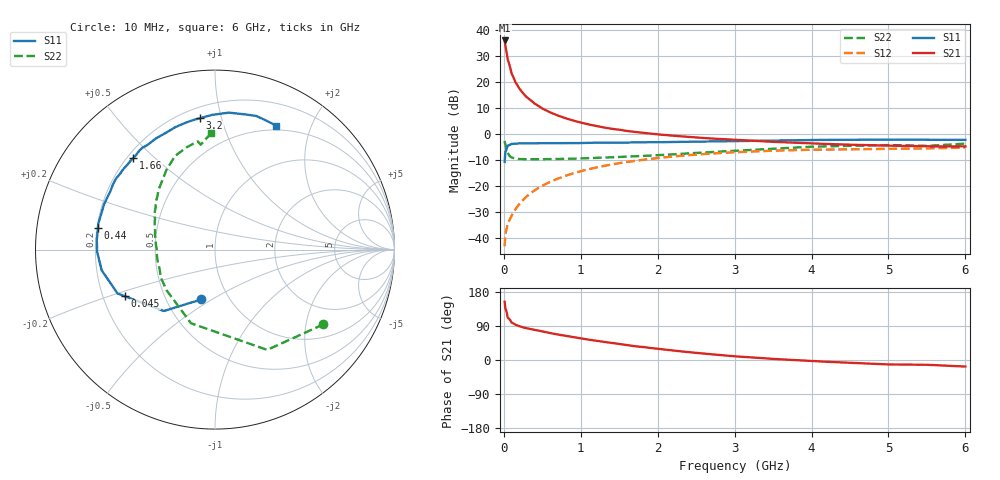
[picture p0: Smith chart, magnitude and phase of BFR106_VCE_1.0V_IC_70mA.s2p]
! Infineon Technologies  Discrete & RF Semiconductors
! BFR106
! VCE =  1.0 V,  IC =  70 mA
! Common Emitter S-Parameters:  Nov 2015
# GHz  S  MA  R  50
!  f  S11  S21  S12  S22
! GHz  MAG  ANG  MAG  ANG  MAG  ANG  MAG  ANG
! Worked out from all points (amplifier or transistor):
!   210 points, 10 MHz to 6 GHz, reference 50 ohm
!   highest |S21| = 36.1 dB at 10 MHz (marker M1)
!   |S21| within 3 dB of that: start of sweep to 26.69 MHz
!   unconditionally stable (mu >= 1): 136.6 MHz to end of sweep
!   at 185 MHz: K = 1.06, MAG = 21.5 dB, |S12| = -27.7 dB
!   at 1.52 GHz: K = 1.10, MAG = 4.4 dB, |S12| = -11.2 dB
!   at 6 GHz: K = 1.03, MAG = -0.8 dB, |S12| = -5.3 dB
!   S11 on the Smith chart (normalised r, x): 10 MHz: 0.74, -0.45; 45 MHz: 0.29, -0.22; 440 MHz: 0.20, +0.09; 1.66 GHz: 0.22, +0.43; 3.2 GHz: 0.27, +0.86; 6 GHz: 0.45, +1.52
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0.01  0.2885 -105.5  64.08 153.8  0.0068 70.1  0.7338 -34.6
0.02  0.4455 -129.8  51.08 135.9  0.0112 61.1  0.6298 -62.5
0.045  0.5641 -152.5  31.02 118.3  0.0169 54.7  0.4396 -98.3
0.05  0.5957 -155.8  27.66 111.9  0.018 53.9  0.4316 -108.1
0.1  0.6419 -169.7  14.85 98.9  0.0262 60.0  0.3525 -139.7
0.15  0.6494 -176.1  10.05 92.9  0.0349 64.8  0.3398 -153.0
0.2  0.6574 -179.0  7.607 89.0  0.0441 67.8  0.3271 -160.5
0.26  0.6583 177.3  5.877 85.5  0.055 69.7  0.3262 -166.8
0.3  0.6609 175.6  5.096 83.6  0.0627 70.5  0.326 -169.4
0.4  0.6608 171.1  3.863 79.3  0.0814 70.7  0.3257 -174.9
0.44  0.6627 169.7  3.56 77.9  0.0887 70.5  0.3255 -176.4
0.5  0.6662 167.6  3.11 75.3  0.0997 70.3  0.3256 -178.7
0.7  0.6655 160.4  2.274 67.2  0.1366 67.9  0.3294 176.1
1.02  0.669 150.0  1.633 56.5  0.1946 62.5  0.3386 168.6
1.3  0.6763 141.9  1.337 47.7  0.2416 57.3  0.3494 162.7
1.66  0.6837 131.7  1.114 37.7  0.2965 50.6  0.3686 155.8
2.02  0.6942 122.5  0.977 29.2  0.3456 43.6  0.393 149.0
3.1  0.7336 98.2  0.756 8.5  0.4498 24.5  0.4809 128.0
3.2  0.7368 96.5  0.743 7.2  0.4558 22.9  0.4901 126.3
4.1  0.7672 83.0  0.648 -3.7  0.4974 9.8  0.5712 111.5
5.1  0.7775 71.6  0.591 -11.9  0.517 -1.2  0.6063 98.8
6  0.7694 63.7  0.577 -17.3  0.5462 -9.5  0.6504 91.8
